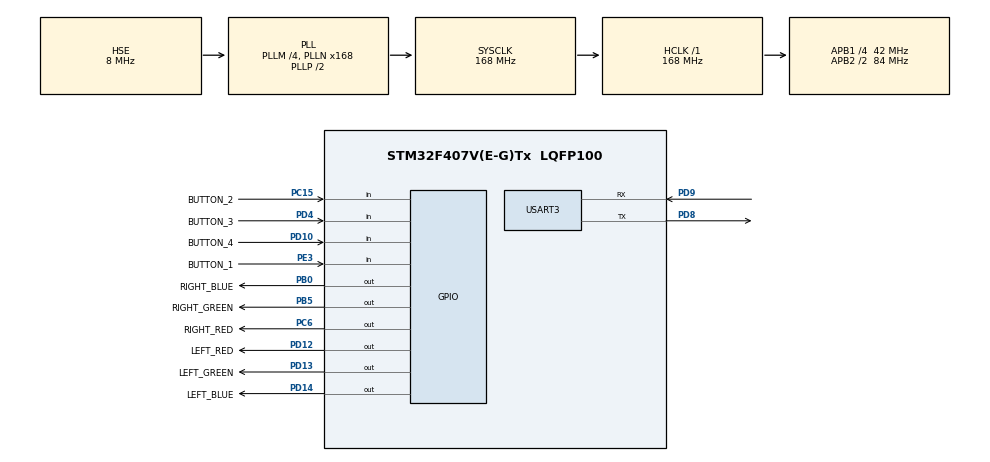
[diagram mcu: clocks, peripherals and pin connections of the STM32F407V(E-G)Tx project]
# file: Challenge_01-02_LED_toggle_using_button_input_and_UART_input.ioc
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Mcu.Family=STM32F4
Mcu.Name=STM32F407V(E-G)Tx
Mcu.Package=LQFP100
NVIC.PriorityGroup=NVIC_PRIORITYGROUP_4
NVIC.USART3_IRQn=true\:0\:0\:false\:true\:true\:1\:true\:true\:true
PB0.GPIO_Label=RIGHT_BLUE
PB0.GPIO_ModeDefaultOutputPP=GPIO_MODE_OUTPUT_PP
PB0.GPIO_PuPd=GPIO_NOPULL
PB0.GPIO_Speed=GPIO_SPEED_FREQ_LOW
PB0.PinState=GPIO_PIN_SET
PB0.Signal=GPIO_Output
PB5.GPIO_Label=RIGHT_GREEN
PB5.GPIO_ModeDefaultOutputPP=GPIO_MODE_OUTPUT_PP
PB5.GPIO_PuPd=GPIO_NOPULL
PB5.GPIO_Speed=GPIO_SPEED_FREQ_LOW
PB5.PinState=GPIO_PIN_SET
PB5.Signal=GPIO_Output
PC15-OSC32_OUT.GPIO_Label=BUTTON_2
PC15-OSC32_OUT.GPIO_Mode=GPIO_MODE_INPUT
PC15-OSC32_OUT.GPIO_PuPd=GPIO_NOPULL
PC15-OSC32_OUT.Signal=GPIO_Input
PC6.GPIO_Label=RIGHT_RED
PC6.GPIO_ModeDefaultOutputPP=GPIO_MODE_OUTPUT_PP
PC6.GPIO_PuPd=GPIO_NOPULL
PC6.GPIO_Speed=GPIO_SPEED_FREQ_LOW
PC6.PinState=GPIO_PIN_SET
PC6.Signal=GPIO_Output
PD10.GPIO_Label=BUTTON_4
PD10.GPIO_Mode=GPIO_MODE_INPUT
PD10.GPIO_PuPd=GPIO_NOPULL
PD10.Signal=GPIO_Input
PD12.GPIO_Label=LEFT_RED
PD12.GPIO_ModeDefaultOutputPP=GPIO_MODE_OUTPUT_PP
PD12.GPIO_PuPd=GPIO_NOPULL
PD12.GPIO_Speed=GPIO_SPEED_FREQ_LOW
PD12.PinState=GPIO_PIN_SET
PD12.Signal=GPIO_Output
PD13.GPIO_Label=LEFT_GREEN
PD13.GPIO_ModeDefaultOutputPP=GPIO_MODE_OUTPUT_PP
PD13.GPIO_PuPd=GPIO_NOPULL
PD13.GPIO_Speed=GPIO_SPEED_FREQ_LOW
PD13.PinState=GPIO_PIN_SET
PD13.Signal=GPIO_Output
PD14.GPIO_Label=LEFT_BLUE
PD14.GPIO_ModeDefaultOutputPP=GPIO_MODE_OUTPUT_PP
PD14.GPIO_PuPd=GPIO_NOPULL
PD14.GPIO_Speed=GPIO_SPEED_FREQ_LOW
PD14.PinState=GPIO_PIN_SET
PD14.Signal=GPIO_Output
PD4.GPIO_Label=BUTTON_3
PD4.GPIO_Mode=GPIO_MODE_INPUT
PD4.GPIO_PuPd=GPIO_NOPULL
PD4.Signal=GPIO_Input
PD8.Mode=Asynchronous
PD8.Signal=USART3_TX
PD9.Mode=Asynchronous
PD9.Signal=USART3_RX
PE3.GPIO_Label=BUTTON_1
PE3.GPIO_Mode=GPIO_MODE_INPUT
PE3.GPIO_PuPd=GPIO_NOPULL
PE3.Signal=GPIO_Input
PH0-OSC_IN.Mode=HSE-External-Oscillator
PH0-OSC_IN.Signal=RCC_OSC_IN
PH1-OSC_OUT.Mode=HSE-External-Oscillator
PH1-OSC_OUT.Signal=RCC_OSC_OUT
ProjectManager.HeapSize=0x200
ProjectManager.StackSize=0x400
ProjectManager.TargetToolchain=STM32CubeIDE
RCC.48MHZClocksFreq_Value=84000000
RCC.AHBFreq_Value=168000000
RCC.APB1CLKDivider=RCC_HCLK_DIV4
RCC.APB1Freq_Value=42000000
RCC.APB1TimFreq_Value=84000000
RCC.APB2CLKDivider=RCC_HCLK_DIV2
RCC.APB2Freq_Value=84000000
RCC.APB2TimFreq_Value=168000000
RCC.CortexFreq_Value=168000000
RCC.HCLKFreq_Value=168000000
RCC.HSE_VALUE=8000000
RCC.HSI_VALUE=16000000
RCC.LSE_VALUE=32768
RCC.PLLM=4
RCC.PLLN=168
RCC.PLLSourceVirtual=RCC_PLLSOURCE_HSE
RCC.SYSCLKFreq_VALUE=168000000
RCC.SYSCLKSource=RCC_SYSCLKSOURCE_PLLCLK
RCC.VCOOutputFreq_Value=336000000
USART3.VirtualMode=VM_ASYNC
board=custom

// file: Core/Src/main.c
/* USER CODE BEGIN Header */
/**
  ******************************************************************************
  * @file           : main.c
  * @brief          : Main program body
  ******************************************************************************
  * @attention
  *
  * Copyright (c) 2025 STMicroelectronics.
  * All rights reserved.
  *
  * This software is licensed under terms that can be found in the LICENSE file
  * in the root directory of this software component.
  * If no LICENSE file comes with this software, it is provided AS-IS.
  *
  ******************************************************************************
  */
/* USER CODE END Header */
#include "main.h"

/* USER CODE BEGIN Includes */
#include "led.h"
#include "button.h"
#include "clock.h"
#include "uart.h"
/* USER CODE END Includes */

UART_HandleTypeDef huart3;

void SystemClock_Config(void);
static void MX_GPIO_Init(void);
static void MX_USART3_UART_Init(void);
static void MX_NVIC_Init(void);

int main(void)
{

  /* MCU Configuration--------------------------------------------------------*/

  /* Reset of all peripherals, Initializes the Flash interface and the Systick. */
  HAL_Init();

  /* Configure the system clock */
  SystemClock_Config();

  /* Initialize all configured peripherals */
  MX_GPIO_Init();
  MX_USART3_UART_Init();

  /* Initialize interrupts */
  MX_NVIC_Init();

  /* Infinite loop */
  /* USER CODE BEGIN WHILE */

  receive_data();

  while (1)
  {

	  update_button(BUTTON_1);
	  update_button(BUTTON_2);
	  update_button(BUTTON_3);
	  update_button(BUTTON_4);

	  change_led_direction();

	  operate_led(BUTTON_1, RED);
	  operate_led(BUTTON_2, GREEN);
	  operate_led(BUTTON_3, BLUE);

	  update_last_button(BUTTON_1);
	  update_last_button(BUTTON_2);
	  update_last_button(BUTTON_3);
	  update_last_button(BUTTON_4);

    /* USER CODE END WHILE */

  }
}

void SystemClock_Config(void)
{
  RCC_OscInitTypeDef RCC_OscInitStruct = {0};
  RCC_ClkInitTypeDef RCC_ClkInitStruct = {0};

  /** Configure the main internal regulator output voltage
  */
  __HAL_RCC_PWR_CLK_ENABLE();
  __HAL_PWR_VOLTAGESCALING_CONFIG(PWR_REGULATOR_VOLTAGE_SCALE1);

  /** Initializes the RCC Oscillators according to the specified parameters
  * in the RCC_OscInitTypeDef structure.
  */
  RCC_OscInitStruct.OscillatorType = RCC_OSCILLATORTYPE_HSE;
  RCC_OscInitStruct.HSEState = RCC_HSE_ON;
  RCC_OscInitStruct.PLL.PLLState = RCC_PLL_ON;
  RCC_OscInitStruct.PLL.PLLSource = RCC_PLLSOURCE_HSE;
  RCC_OscInitStruct.PLL.PLLM = 4;
  RCC_OscInitStruct.PLL.PLLN = 168;
  RCC_OscInitStruct.PLL.PLLP = RCC_PLLP_DIV2;
  RCC_OscInitStruct.PLL.PLLQ = 4;
  if (HAL_RCC_OscConfig(&RCC_OscInitStruct) != HAL_OK)
  {
    Error_Handler();
  }

  /** Initializes the CPU, AHB and APB buses clocks
  */
  RCC_ClkInitStruct.ClockType = RCC_CLOCKTYPE_HCLK|RCC_CLOCKTYPE_SYSCLK
                              |RCC_CLOCKTYPE_PCLK1|RCC_CLOCKTYPE_PCLK2;
  RCC_ClkInitStruct.SYSCLKSource = RCC_SYSCLKSOURCE_PLLCLK;
  RCC_ClkInitStruct.AHBCLKDivider = RCC_SYSCLK_DIV1;
  RCC_ClkInitStruct.APB1CLKDivider = RCC_HCLK_DIV4;
  RCC_ClkInitStruct.APB2CLKDivider = RCC_HCLK_DIV2;

  if (HAL_RCC_ClockConfig(&RCC_ClkInitStruct, FLASH_LATENCY_5) != HAL_OK)
  {
    Error_Handler();
  }
}

/**
  * @brief NVIC Configuration.
  * @retval None
  */
static void MX_NVIC_Init(void)
{
  /* USART3_IRQn interrupt configuration */
  HAL_NVIC_SetPriority(USART3_IRQn, 0, 0);
  HAL_NVIC_EnableIRQ(USART3_IRQn);
}

static void MX_USART3_UART_Init(void)
{

  huart3.Instance = USART3;
  huart3.Init.BaudRate = 115200;
  huart3.Init.WordLength = UART_WORDLENGTH_8B;
  huart3.Init.StopBits = UART_STOPBITS_1;
  huart3.Init.Parity = UART_PARITY_NONE;
  huart3.Init.Mode = UART_MODE_TX_RX;
  huart3.Init.HwFlowCtl = UART_HWCONTROL_NONE;
  huart3.Init.OverSampling = UART_OVERSAMPLING_16;
  if (HAL_UART_Init(&huart3) != HAL_OK)
  {
    Error_Handler();
  }

}

static void MX_GPIO_Init(void)
{
  GPIO_InitTypeDef GPIO_InitStruct = {0};

  /* GPIO Ports Clock Enable */
  __HAL_RCC_GPIOE_CLK_ENABLE();
  __HAL_RCC_GPIOC_CLK_ENABLE();
  __HAL_RCC_GPIOH_CLK_ENABLE();
  __HAL_RCC_GPIOB_CLK_ENABLE();
  __HAL_RCC_GPIOD_CLK_ENABLE();

  /*Configure GPIO pin Output Level */
  HAL_GPIO_WritePin(GPIOB, RIGHT_BLUE_Pin|RIGHT_GREEN_Pin, GPIO_PIN_SET);

  /*Configure GPIO pin Output Level */
  HAL_GPIO_WritePin(GPIOD, LEFT_RED_Pin|LEFT_GREEN_Pin|LEFT_BLUE_Pin, GPIO_PIN_SET);

  /*Configure GPIO pin Output Level */
  HAL_GPIO_WritePin(RIGHT_RED_GPIO_Port, RIGHT_RED_Pin, GPIO_PIN_SET);

  /*Configure GPIO pin : BUTTON_1_Pin */
  GPIO_InitStruct.Pin = BUTTON_1_Pin;
  GPIO_InitStruct.Mode = GPIO_MODE_INPUT;
  GPIO_InitStruct.Pull = GPIO_NOPULL;
  HAL_GPIO_Init(BUTTON_1_GPIO_Port, &GPIO_InitStruct);

  /*Configure GPIO pin : BUTTON_2_Pin */
  GPIO_InitStruct.Pin = BUTTON_2_Pin;
  GPIO_InitStruct.Mode = GPIO_MODE_INPUT;
  GPIO_InitStruct.Pull = GPIO_NOPULL;
  HAL_GPIO_Init(BUTTON_2_GPIO_Port, &GPIO_InitStruct);

  /*Configure GPIO pins : RIGHT_BLUE_Pin RIGHT_GREEN_Pin */
  GPIO_InitStruct.Pin = RIGHT_BLUE_Pin|RIGHT_GREEN_Pin;
  GPIO_InitStruct.Mode = GPIO_MODE_OUTPUT_PP;
  GPIO_InitStruct.Pull = GPIO_NOPULL;
  GPIO_InitStruct.Speed = GPIO_SPEED_FREQ_LOW;
  HAL_GPIO_Init(GPIOB, &GPIO_InitStruct);

  /*Configure GPIO pins : BUTTON_4_Pin BUTTON_3_Pin */
  GPIO_InitStruct.Pin = BUTTON_4_Pin|BUTTON_3_Pin;
  GPIO_InitStruct.Mode = GPIO_MODE_INPUT;
  GPIO_InitStruct.Pull = GPIO_NOPULL;
  HAL_GPIO_Init(GPIOD, &GPIO_InitStruct);

  /*Configure GPIO pins : LEFT_RED_Pin LEFT_GREEN_Pin LEFT_BLUE_Pin */
  GPIO_InitStruct.Pin = LEFT_RED_Pin|LEFT_GREEN_Pin|LEFT_BLUE_Pin;
  GPIO_InitStruct.Mode = GPIO_MODE_OUTPUT_PP;
  GPIO_InitStruct.Pull = GPIO_NOPULL;
  GPIO_InitStruct.Speed = GPIO_SPEED_FREQ_LOW;
  HAL_GPIO_Init(GPIOD, &GPIO_InitStruct);

  /*Configure GPIO pin : RIGHT_RED_Pin */
  GPIO_InitStruct.Pin = RIGHT_RED_Pin;
  GPIO_InitStruct.Mode = GPIO_MODE_OUTPUT_PP;
  GPIO_InitStruct.Pull = GPIO_NOPULL;
  GPIO_InitStruct.Speed = GPIO_SPEED_FREQ_LOW;
  HAL_GPIO_Init(RIGHT_RED_GPIO_Port, &GPIO_InitStruct);

}

/* USER CODE BEGIN 4 */
void HAL_UART_RxCpltCallback(UART_HandleTypeDef *huart)
{
	if (huart->Instance == USART3)
	{
		receive_data();
	}
}
/* USER CODE END 4 */

void Error_Handler(void)
{
  __disable_irq();
  while (1)
  {
  }
}
